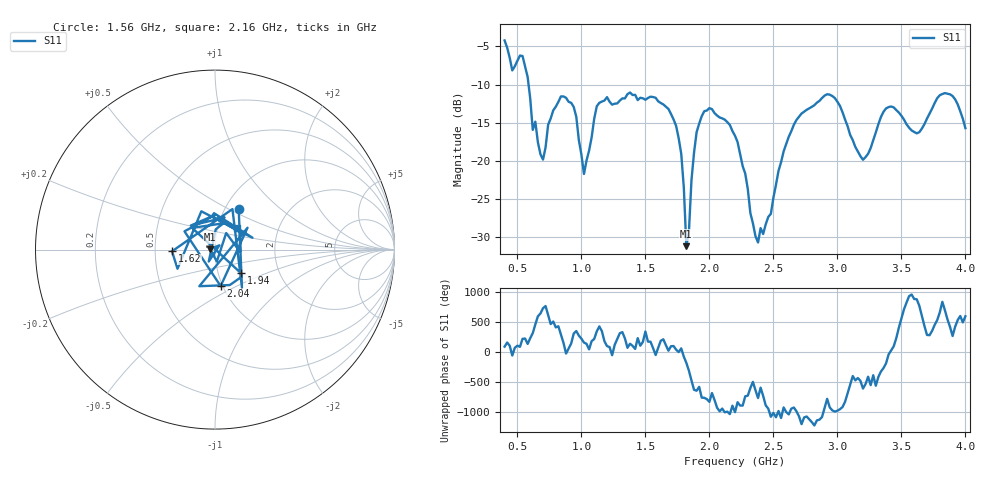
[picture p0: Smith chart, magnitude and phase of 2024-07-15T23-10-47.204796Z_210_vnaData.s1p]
!Created with skrf (http://scikit-rf.org).
# Hz S RI R 50.0
!freq ReS11 ImS11
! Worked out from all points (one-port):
!   181 points, 400 MHz to 4 GHz, reference 50 ohm
!   lowest |S11| = -31.2 dB at 1.82 GHz (marker M1), VSWR 1.06, Z = 47.3 + j0.243 ohm
!   |S11| at or under -10 dB: 587.2 MHz to end of sweep
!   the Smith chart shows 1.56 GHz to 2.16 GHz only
!   S11 on the Smith chart (normalised r, x): 1.56 GHz: 1.16, +0.56; 1.62 GHz: 0.61, -0.01; 1.94 GHz: 1.29, -0.35; 2.04 GHz: 0.98, -0.42; 2.16 GHz: 1.24, +0.30
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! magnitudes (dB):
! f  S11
! 400 MHz  -4.2
! 460 MHz  -8.1
! 540 MHz  -6.3
! 700 MHz  -19.8
! 860 MHz  -11.6
! 940 MHz  -12.9
! 1.02 GHz  -21.7
! 1.12 GHz  -12.8
! 1.3 GHz  -12.1
! 1.56 GHz  -11.6
! 1.62 GHz  -12.4
! 1.76 GHz  -17.0
! 1.8 GHz  -23.5
! 1.82 GHz  -31.2
! 1.88 GHz  -18.9
! 1.94 GHz  -14.1
! 2.04 GHz  -13.7
! 2.16 GHz  -15.3
! 2.2 GHz  -16.7
! 2.38 GHz  -30.7
! 2.66 GHz  -15.2
! 2.94 GHz  -11.3
! 3.1 GHz  -16.6
! 3.2 GHz  -19.9
! 3.38 GHz  -13.1
! 3.56 GHz  -15.6
! 3.84 GHz  -11.1
! 4 GHz  -15.7
